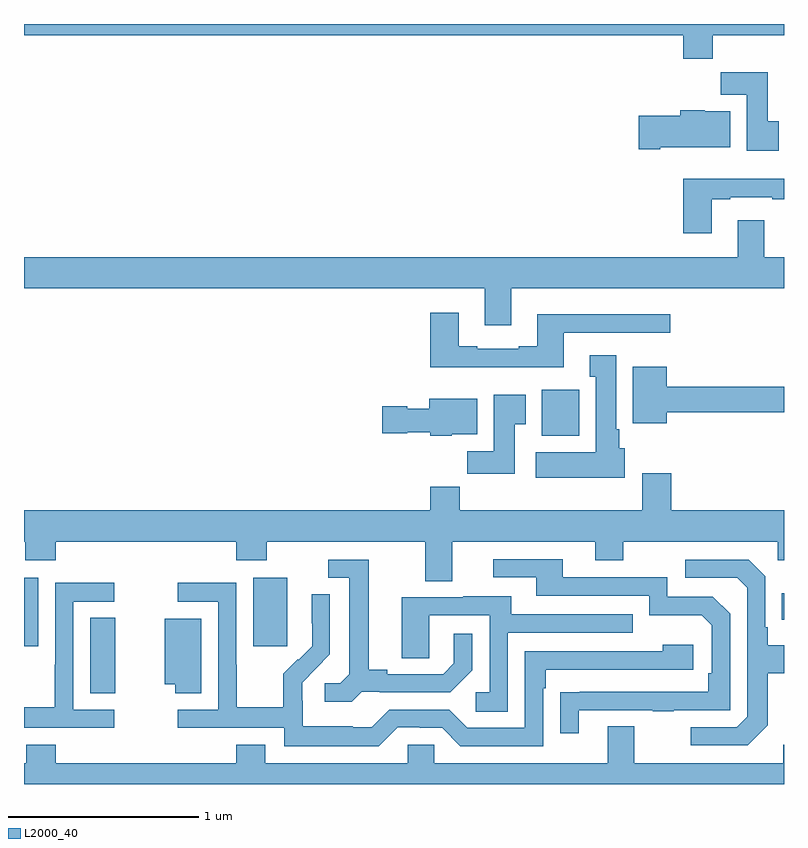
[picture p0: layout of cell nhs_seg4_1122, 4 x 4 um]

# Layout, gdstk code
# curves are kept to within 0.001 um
import gdstk
lib = gdstk.Library(unit=1e-6, precision=1e-09)
def R(c, l, rs):  # rectangles x0, y0, x1, y1
    for r in rs: c.add(gdstk.rectangle(r[:2], r[2:], *l))
def P(c, l, *ps):  # polygons
    for p in ps: c.add(gdstk.Polygon(p, *l))
L2000_40 = (2000, 40)

nhs_seg4_1122 = lib.new_cell('nhs_seg4_1122')
R(nhs_seg4_1122, L2000_40, [(169.349,773.377,169.48,773.774), (169,773.625,169.075,773.986), (170.207,773.625,170.386,773.986), (172.987,773.765,173,773.905), (171.725,774.734,171.922,774.976)])
P(nhs_seg4_1122, L2000_40, [(172.625,776.84),(173,776.84),(173,776.9),(169,776.9),(169,776.84),(172.469,776.84),(172.469,776.716),(172.625,776.716)],
  [(172.972,776.388),(172.915,776.388),(172.915,776.647),(172.666,776.647),(172.666,776.528),(172.805,776.528),(172.805,776.232),(172.972,776.232)],
  [(172.348,776.252),(172.717,776.252),(172.717,776.44),(172.584,776.44),(172.584,776.446),(172.454,776.446),(172.454,776.418),(172.236,776.418),(172.236,776.24),(172.348,776.24)],
  [(172.621,775.977),(172.717,775.977),(172.717,775.989),(172.937,775.989),(172.937,775.977),(173,775.977),(173,776.086),(172.469,776.086),(172.469,775.8),(172.621,775.8)],
  [(171.565,775.508),(173,775.508),(173,775.672),(172.897,775.672),(172.897,775.867),(172.757,775.867),(172.757,775.672),(169,775.672),(169,775.508),(171.425,775.508),(171.425,775.314),(171.565,775.314)],
  [(171.841,775.275),(172.402,775.275),(172.402,775.372),(171.701,775.372),(171.701,775.204),(171.605,775.204),(171.605,775.191),(171.385,775.191),(171.385,775.204),(171.289,775.204),(171.289,775.381),(171.137,775.381),(171.137,775.094),(171.841,775.094)],
  [(172.162,774.666),(172.132,774.666),(172.132,774.766),(172.117,774.766),(172.117,775.156),(171.977,775.156),(171.977,775.043),(172.01,775.043),(172.01,774.646),(171.693,774.646),(171.693,774.512),(172.162,774.512)],
  [(172.384,774.856),(173,774.856),(173,774.992),(172.384,774.992),(172.384,775.096),(172.205,775.096),(172.205,774.8),(172.384,774.8)],
  [(171.583,774.793),(171.64,774.793),(171.64,774.949),(171.473,774.949),(171.473,774.652),(171.334,774.652),(171.334,774.534),(171.583,774.534)],
  [(171.252,774.74),(171.385,774.74),(171.385,774.928),(171.134,774.928),(171.134,774.874),(171.018,774.874),(171.018,774.887),(170.886,774.887),(170.886,774.745),(171.018,774.745),(171.018,774.752),(171.138,774.752),(171.138,774.734),(171.252,774.734)],
  [(171.253,774.176),(172.007,774.176),(172.007,774.077),(172.155,774.077),(172.155,774.176),(172.968,774.176),(172.968,774.077),(173,774.077),(173,774.34),(172.406,774.34),(172.406,774.535),(172.253,774.535),(172.253,774.34),(171.293,774.34),(171.293,774.464),(171.137,774.464),(171.137,774.34),(169,774.34),(169,774.176),(169.006,774.176),(169.006,774.077),(169.166,774.077),(169.166,774.176),(170.117,774.176),(170.117,774.077),(170.277,774.077),(170.277,774.176),(171.113,774.176),(171.113,773.968),(171.253,773.968)],
  [(171.919,773.289),(172.309,773.289),(172.309,773.284),(172.421,773.284),(172.421,773.289),(172.716,773.289),(172.716,773.796),(172.626,773.886),(172.386,773.886),(172.386,773.988),(171.835,773.988),(171.835,774.084),(171.471,774.084),(171.471,773.988),(171.695,773.988),(171.695,773.892),(172.29,773.892),(172.29,773.789),(172.567,773.789),(172.62,773.736),(172.62,773.482),(172.6,773.482),(172.6,773.385),(171.823,773.384),(171.823,773.166),(171.919,773.166)],
  [(170.778,773.385),(170.872,773.385),(170.872,773.382),(171.244,773.382),(171.36,773.498),(171.36,773.692),(171.263,773.692),(171.263,773.535),(171.206,773.478),(170.911,773.478),(170.911,773.501),(170.815,773.501),(170.815,774.081),(170.601,774.081),(170.601,773.985),(170.711,773.985),(170.711,773.477),(170.664,773.43),(170.583,773.43),(170.583,773.333),(170.726,773.333)],
  [(172.915,773.209),(172.915,773.482),(173,773.482),(173,773.629),(172.915,773.629),(172.915,773.725),(172.902,773.725),(172.902,773.994),(172.815,774.081),(172.479,774.081),(172.479,773.985),(172.755,773.985),(172.806,773.934),(172.806,773.253),(172.752,773.199),(172.509,773.199),(172.509,773.103),(172.809,773.103)],
  [(170.967,773.199),(171.083,773.199),(171.083,773.196),(171.201,773.196),(171.297,773.1),(171.732,773.1),(171.732,773.405),(171.745,773.405),(171.745,773.502),(172.522,773.502),(172.522,773.632),(172.361,773.632),(172.361,773.598),(171.636,773.598),(171.636,773.196),(171.333,773.196),(171.237,773.292),(170.922,773.292),(170.829,773.199),(170.729,773.199),(170.729,773.203),(170.466,773.203),(170.466,773.337),(170.464,773.337),(170.464,773.434),(170.61,773.582),(170.61,773.9),(170.514,773.9),(170.514,773.746),(170.516,773.746),(170.516,773.624),(170.445,773.553),(170.442,773.556),(170.365,773.479),(170.365,773.305),(170.121,773.305),(170.121,773.528),(170.118,773.528),(170.118,773.958),(169.809,773.958),(169.809,773.859),(170.022,773.859),(170.022,773.292),(169.809,773.292),(169.809,773.196),(170.37,773.196),(170.37,773.099),(170.867,773.099)],
  [(169.474,773.292),(169.26,773.292),(169.26,773.859),(169.474,773.859),(169.474,773.958),(169.164,773.958),(169.164,773.528),(169.162,773.528),(169.162,773.305),(169,773.305),(169,773.196),(169.474,773.196)],
  [(171.546,773.697),(172.205,773.697),(172.205,773.793),(171.565,773.793),(171.565,773.887),(171.311,773.887),(171.311,773.883),(170.987,773.883),(170.987,773.563),(171.132,773.563),(171.132,773.787),(171.45,773.787),(171.45,773.382),(171.378,773.382),(171.378,773.281),(171.546,773.281)],
  [(169.933,773.77),(169.742,773.77),(169.742,773.426),(169.795,773.426),(169.795,773.377),(169.933,773.377)],
  [(173,773.107),(172.997,773.107),(172.997,773.008),(172.213,773.008),(172.213,773.203),(172.073,773.203),(172.073,773.008),(171.159,773.008),(171.159,773.106),(171.021,773.106),(171.021,773.008),(170.269,773.008),(170.269,773.107),(170.117,773.107),(170.117,773.008),(169.166,773.008),(169.166,773.107),(169.013,773.107),(169.013,773.008),(169,773.008),(169,772.9),(173,772.9)])

lib.write_gds('nhs_seg4_1122.gds')
